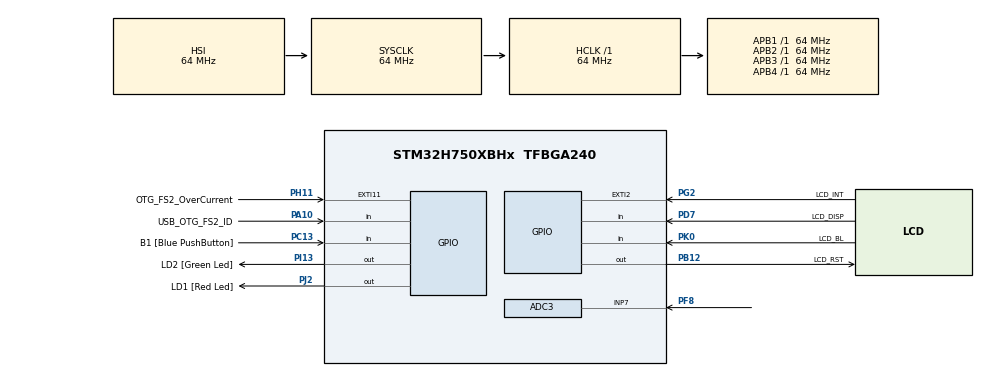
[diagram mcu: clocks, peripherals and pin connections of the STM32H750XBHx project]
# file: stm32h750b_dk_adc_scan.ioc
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Dma.ADC3.0.FIFOMode=DMA_FIFOMODE_DISABLE
SH.FMC_A0.0=FMC_A0
PG8.Signal=FMC_SDCLK
PG0.Signal=FMC_A10
RCC.PLLFRACN=0
SH.FMC_D5_DA5.0=FMC_D5
Dma.ADC3.0.SignalID=NONE
SH.FMC_D9_DA9.0=FMC_D9
PF7.Signal=QUADSPI_BK1_IO2
SH.FMC_SDNWE.0=FMC_SDNWE
PH9.Signal=LTDC_R3
SH.FMC_D11_DA11.0=FMC_D11
PB6.Signal=QUADSPI_BK1_NCS
Dma.ADC3.0.Direction=DMA_PERIPH_TO_MEMORY
PC7.Signal=SDMMC1_D7
PD0.Signal=FMC_D2_DA2
PD8.Signal=FMC_D13_DA13
PE1.Signal=FMC_NBL1
PB12.GPIO_Label=LCD_RST
PC4.GPIO_Label=MII_RXD0
PE9.Signal=FMC_D6_DA6
SH.FMC_A2.0=FMC_A2
ADC3.SamplingTime-5\#ChannelRegularConversion=ADC_SAMPLETIME_810CYCLES_5
PB1.GPIO_Label=MII_RX_D3
NVIC.TIM2_IRQn=true\:0\:0\:false\:false\:true\:true\:true
PA8.Signal=S_TIM1_CH1
SH.FMC_D1_DA1.0=FMC_D1
PJ14.Signal=LTDC_B2
Mcu.Package=TFBGA240
PB9.Signal=SDMMC1_D5
TIM2.Prescaler=5999
PB1.Signal=ETH_RXD3
RCC.PLL3FRACN=0
Dma.ADC3.0.SyncEnable=DISABLE
ADC3.Rank-0\#ChannelRegularConversion=1
PA10.Signal=GPIO_Input
PC14-OSC32_IN\ (OSC32_IN).Mode=LSE-External-Clock-Source
Dma.ADC3.0.Instance=DMA1_Stream0
Dma.ADC3.0.SyncPolarity=HAL_DMAMUX_SYNC_NO_EVENT
PD15.Signal=FMC_D1_DA1
PG12.Signal=ETH_TXD1
PK4.Signal=LTDC_B5
SH.FMC_A4.0=FMC_A4
PH13.Signal=FDCAN1_TX
ADC3.OffsetNumber-1\#ChannelRegularConversion=ADC_OFFSET_NONE
PG5.Signal=FMC_A15_BA1
PC13.Signal=GPIO_Input
SH.FMC_D10_DA10.0=FMC_D10
PD3.Signal=SPI2_SCK
PC2.Signal=ETH_TXD2
PI12.Signal=LTDC_HSYNC
RCC.PWR_Regulator_Voltage_Scale=PWR_REGULATOR_VOLTAGE_SCALE2
PJ11.Signal=LTDC_G4
PD10.Signal=FMC_D15_DA15
PB8.GPIO_Label=SDIO1_D4
PJ3.Signal=LTDC_R4
PH11.GPIO_Label=OTG_FS2_OverCurrent
PI7.Signal=SAI2_FS_A
SH.FMC_A6.0=FMC_A6
PE14.Signal=FMC_D11_DA11
ADC3.Channel-5\#ChannelRegularConversion=ADC_CHANNEL_VREFINT
PI2.Signal=SPI2_MISO
PA1.GPIO_Label=MII_RX_CLK
PF13.Signal=FMC_A7
TIM2.Period=2999
PJ15.GPIO_Label=LCD_DISP
VP_ADC3_Vbat_Input.Mode=IN-Vbat
Dma.ADC3.0.PeriphDataAlignment=DMA_PDATAALIGN_WORD
PC7.GPIO_Label=SDIO1_D7
ADC3.Rank-1\#ChannelRegularConversion=2
PC14-OSC32_IN\ (OSC32_IN).GPIO_Label=OSC32_IN
PC12.GPIO_Label=SDIO1_CK
PJ8.Signal=LTDC_G1
ProjectManager.HeapSize=0x200
ADC3.EOCSelection=ADC_EOC_SEQ_CONV
PH6.Signal=FMC_SDNE1
NVIC.PriorityGroup=NVIC_PRIORITYGROUP_4
VP_ADC3_TempSens_Input.Mode=IN-TempSens
PF4.Signal=FMC_A4
PD2.Signal=SDMMC1_CMD
Mcu.Family=STM32H7
PK3.Signal=LTDC_B4
SH.FMC_A8.0=FMC_A8
PH14.Signal=FDCAN1_RX
SH.FMC_D14_DA14.0=FMC_D14
PH0-OSC_IN\ (PH0).Signal=RCC_OSC_IN
PG2.Signal=GPXTI2
RCC.PLL2FRACN=0
SH.FMC_A14_BA0.0=FMC_BA0
SH.FMC_A11.0=FMC_A11
PB13.GPIO_Label=FDCAN2_TX
PB15.Signal=SPI2_MOSI
ADC3.Channel-0\#ChannelRegularConversion=ADC_CHANNEL_7
PG11.Signal=ETH_TX_EN
PG15.Signal=FMC_SDNCAS
SH.S_TIM13_CH1.0=TIM13_CH1
PJ2.Signal=GPIO_Output
SH.FMC_NBL1.0=FMC_NBL1
PF11.Signal=FMC_SDNRAS
PC11.GPIO_Label=SDIO1_D3
PA6.Signal=S_TIM13_CH1
PF8.Signal=ADC3_INP7
PB5.GPIO_Label=FDCAN2_RX
ADC3.OffsetNumber-4\#ChannelRegularConversion=ADC_OFFSET_NONE
NVIC.DMA1_Stream0_IRQn=true\:0\:0\:false\:false\:true\:false\:true
PG11.GPIO_Label=MII_TX_EN
PC5.Signal=ETH_RXD1
PE7.Signal=FMC_D4_DA4
Dma.Request0=ADC3
PE2.GPIO_Label=MII_TXD3
PG2.GPIO_Label=LCD_INT
PH1-OSC_OUT\ (PH1).GPIO_Label=OSC_OUT
PK6.Signal=LTDC_B7
PA0_C.Signal=ADCx_INP0
PC9.GPIO_Label=SDIO1_D1
PC11.Signal=SDMMC1_D3
PI14.Signal=LTDC_CLK
PC8.Signal=SDMMC1_D0
PD9.Signal=FMC_D14_DA14
PA12.GPIO_Label=USB_OTG_FS2_P
PH1-OSC_OUT\ (PH1).Signal=RCC_OSC_OUT
SH.ADCx_INP1.1=ADC2_INP1
SH.ADCx_INP1.0=ADC1_INP1
ADC3.SamplingTime-0\#ChannelRegularConversion=ADC_SAMPLETIME_810CYCLES_5
SH.S_TIM1_CH1.0=TIM1_CH1
PF6.Signal=QUADSPI_BK1_IO3
PC15-OSC32_OUT\ (OSC32_OUT).Signal=RCC_OSC32_OUT
PB10.GPIO_Label=VCP_TX
SH.FMC_D13_DA13.0=FMC_D13
RCC.USBFreq_Value=48011363.63636364
PA1.Signal=ETH_RX_CLK
board=STM32H750B-DK
PI9.Signal=LTDC_VSYNC
ADC3.Overrun=ADC_OVR_DATA_OVERWRITTEN
PI13.GPIO_Label=LD2 [Green Led]
PI4.Signal=SAI2_MCLK_A
RCC.ADCFreq_Value=30000000
PC1.GPIO_Label=MII_MDC
SH.FMC_D12_DA12.0=FMC_D12
Dma.ADC3.0.Polarity=HAL_DMAMUX_REQ_GEN_RISING
PF1.Signal=FMC_A1
PJ0.Signal=LTDC_R1
PE0.Signal=FMC_NBL0
PE12.Signal=FMC_D9_DA9
ADC3.NbrOfDiscConversion=2
RCC.SYSCLKFreq_VALUE=64000000
PC15-OSC32_OUT\ (OSC32_OUT).GPIO_Label=OSC32_OUT
PJ5.Signal=LTDC_R6
PH0-OSC_IN\ (PH0).GPIO_Label=OSC_IN
PH3.Signal=ETH_COL
PC3_C.Signal=ADC3_INP1
PJ2.GPIO_Label=LD1 [Red Led]
ADC3.NbrOfConversionFlag=1
PB12.Signal=GPIO_Output
PJ13.Signal=LTDC_B1
PB4\ (NJTRST).Signal=SPI2_NSS
SH.FMC_D7_DA7.0=FMC_D7
PK5.Signal=LTDC_B6
Dma.ADC3.0.Priority=DMA_PRIORITY_HIGH
SH.ADCx_INP10.1=ADC3_INP10
SH.ADCx_INP10.0=ADC1_INP10
PG4.Signal=FMC_A14_BA0
PC12.Signal=SDMMC1_CK
PC6.GPIO_Label=SDIO1_D6
PB13.Signal=FDCAN2_TX
PG13.Signal=ETH_TXD0
Dma.ADC3.0.EventEnable=DISABLE
PJ10.Signal=LTDC_G3
SH.FMC_A15_BA1.0=FMC_BA1
PH5.Signal=FMC_SDNWE
PC3.Signal=ETH_TX_CLK
PE5.Signal=SAI4_CK2
RCC.DIVM2=2
RCC.DIVM1=22
Dma.ADC3.0.PeriphInc=DMA_PINC_DISABLE
ADC3.ExternalTrigConv=ADC_EXTERNALTRIG_T2_TRGO
PI6.Signal=SAI2_SD_A
PE2.Signal=ETH_TXD3
PF8.Mode=IN7-Single-Ended
PF3.Signal=FMC_A3
PE10.Signal=FMC_D7_DA7
ADC3.Rank-4\#ChannelRegularConversion=3
PJ4.Signal=LTDC_R5
SH.FMC_A1.0=FMC_A1
PH2.Signal=ETH_CRS
SH.FMC_SDCLK.0=FMC_SDCLK
RCC.APB4Freq_Value=64000000
PF14.Signal=FMC_A8
ADC3.ExternalTrigConvEdge=ADC_EXTERNALTRIGCONVEDGE_FALLING
PH0-OSC_IN\ (PH0).Mode=HSE-External-Clock-Source
SH.FMC_D3_DA3.0=FMC_D3
PI10.GPIO_Label=MII_RX_ER
PH15.Signal=TIM8_CH3N
RCC.DIVQ1=4
PA9.GPIO_Label=VBUS_FS2
PC6.Signal=SDMMC1_D6
PB11.GPIO_Label=VCP_RX
PD7.Signal=GPIO_Input
Dma.ADC3.0.SyncRequestNumber=1
PD1.Signal=FMC_D3_DA3
PA11.GPIO_Label=USB_OTG_FS2_N
RCC.DIVP2=5
PC0.Signal=ADCx_INP10
PG13.GPIO_Label=MII_TXD0
ADC3.Resolution=ADC_RESOLUTION_12B
PG10.Signal=SAI2_SD_B
SH.FMC_A3.0=FMC_A3
PJ7.Signal=LTDC_G0
SH.FMC_D15_DA15.0=FMC_D15
PA9.Signal=USB_OTG_FS_VBUS
RCC.DIVN3=192
RCC.DIVN2=12
RCC.DIVN1=169
ADC3.NbrOfConversion=4
PB10.Signal=USART3_TX
PJ15.Signal=LTDC_B3
PE15.Signal=FMC_D12_DA12
PE8.Signal=FMC_D5_DA5
PI1.Signal=LTDC_G6
ADC3.Rank-5\#ChannelRegularConversion=4
SH.FMC_SDNCAS.0=FMC_SDNCAS
ADC3.Channel-1\#ChannelRegularConversion=ADC_CHANNEL_VBAT
PH14.GPIO_Label=FDCAN1_RX
PB5.Signal=FDCAN2_RX
PD11.Signal=QUADSPI_BK1_IO0
SH.FMC_A5.0=FMC_A5
PA11.Signal=USB_OTG_FS_DM
Dma.ADC3.0.Mode=DMA_CIRCULAR
PF9.Signal=QUADSPI_BK1_IO1
PC3.GPIO_Label=MII_TX_CLK
PB0.Signal=ETH_RXD2
PC1.Signal=ETH_MDC
PD2.GPIO_Label=SDIO1_CMD
PH2.GPIO_Label=MII_CRS
ADC3.OffsetNumber-5\#ChannelRegularConversion=ADC_OFFSET_NONE
PK7.Signal=LTDC_DE
NVIC.ADC3_IRQn=true\:0\:0\:false\:false\:true\:true\:true
RCC.CortexFreq_Value=64000000
PC10.Signal=SDMMC1_D2
PA1_C.Signal=ADCx_INP1
SH.FMC_NBL0.0=FMC_NBL0
SH.FMC_D6_DA6.0=FMC_D6
PB0.GPIO_Label=MII_RX_D2
PC13.GPIO_Label=B1 [Blue PushButton]
PB11.Signal=USART3_RX
ProjectManager.StackSize=0x400
Dma.ADC3.0.SyncSignalID=NONE
ADC3.SamplingTime-4\#ChannelRegularConversion=ADC_SAMPLETIME_810CYCLES_5
PJ6.Signal=LTDC_R7
SH.FMC_A7.0=FMC_A7
PA12.Signal=USB_OTG_FS_DP
RCC.HCLKFreq_Value=64000000
VP_ADC3_Vref_Input.Mode=IN-Vrefint
PF12.Signal=FMC_A6
PI13.Signal=GPIO_Output
Dma.ADC3.0.MemDataAlignment=DMA_MDATAALIGN_WORD
PC2_C.Signal=SharedAnalog_PC2
SH.FMC_A10.0=FMC_A10
ADC3.SamplingTime-1\#ChannelRegularConversion=ADC_SAMPLETIME_810CYCLES_5
SH.FMC_D8_DA8.0=FMC_D8
SH.FMC_D2_DA2.0=FMC_D2
PE13.Signal=FMC_D10_DA10
PI5.Signal=SAI2_SCK_A
PI0.Signal=LTDC_G5
PA10.GPIO_Label=USB_OTG_FS2_ID
Dma.ADC3.0.MemInc=DMA_MINC_ENABLE
SH.FMC_SDNRAS.0=FMC_SDNRAS
PE4.Signal=SAI4_D2
PD7.GPIO_Label=LCD_DISP
RCC.APB3Freq_Value=64000000
PJ9.Signal=LTDC_G2
SH.FMC_D0_DA0.0=FMC_D0
PJ12.Signal=LTDC_B0
PK0.GPIO_Label=LCD_BL
PA2.GPIO_Label=MII_MDIO
SH.FMC_A9.0=FMC_A9
SH.FMC_D4_DA4.0=FMC_D4
PJ1.Signal=LTDC_R2
ADC3.OffsetNumber-0\#ChannelRegularConversion=ADC_OFFSET_NONE
ADC3.ClockPrescaler=ADC_CLOCK_ASYNC_DIV4
PF5.Signal=FMC_A5
PH3.GPIO_Label=MII_COL
TIM2.TIM_MasterOutputTrigger=TIM_TRGO_UPDATE
PH7.Signal=FMC_SDCKE1
PF0.Signal=FMC_A0
PC2.GPIO_Label=MII_TXD2
RCC.PLLSourceVirtual=RCC_PLLSOURCE_HSE
ADC3.DiscontinuousConvMode=ENABLE
PK2.Signal=LTDC_G7
PB9.GPIO_Label=SDIO1_D5
PC10.GPIO_Label=SDIO1_D2
PH11.Signal=GPXTI11
PG1.Signal=FMC_A11
PC4.Signal=ETH_RXD0
PI10.Signal=ETH_RX_ER
PH13.GPIO_Label=FDCAN1_TX
PC8.GPIO_Label=SDIO1_D0
ProjectManager.TargetToolchain=STM32CubeIDE
ADC3.Channel-4\#ChannelRegularConversion=ADC_CHANNEL_TEMPSENSOR
SH.SharedAnalog_PC2.1=ADC3_INN1
SH.SharedAnalog_PC2.0=ADC3_INP0
PF2.Signal=FMC_A2
PE11.Signal=FMC_D8_DA8
PK0.Signal=GPIO_Input
Dma.ADC3.0.RequestNumber=1
SH.ADCx_INP0.0=ADC1_INP0
SH.ADCx_INP0.1=ADC2_INP0
RCC.APB2Freq_Value=64000000
VP_TIM2_VS_ClockSourceINT.Mode=Internal
PF10.Signal=QUADSPI_CLK
PF15.Signal=FMC_A9
Mcu.Name=STM32H750XBHx
ADC3.ConversionDataManagement=ADC_CONVERSIONDATA_DMA_CIRCULAR
PA2.Signal=ETH_MDIO
PD14.Signal=FMC_D0_DA0
PA7.GPIO_Label=MII_RX_DV
PC14-OSC32_IN\ (OSC32_IN).Signal=RCC_OSC32_IN
PC5.GPIO_Label=MII_RXD1
PG12.GPIO_Label=MII_TXD1
PI15.Signal=LTDC_R0
PB8.Signal=SDMMC1_D4
PC9.Signal=SDMMC1_D1
RCC.APB1Freq_Value=64000000
PA7.Signal=ETH_RX_DV

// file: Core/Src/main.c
/* USER CODE BEGIN Header */
/**
  ******************************************************************************
  * @file           : main.c
  * @brief          : Main program body
  ******************************************************************************
  * @attention
  *
  * <h2><center>&copy; Copyright (c) 2022 STMicroelectronics.
  * All rights reserved.</center></h2>
  *
  * This software component is licensed by ST under BSD 3-Clause license,
  * the "License"; You may not use this file except in compliance with the
  * License. You may obtain a copy of the License at:
  *                        opensource.org/licenses/BSD-3-Clause
  *
  ******************************************************************************
  */
/* USER CODE END Header */
#include "main.h"

/* USER CODE BEGIN PD */
#define NUMBER_OF_SAMPLES	4
#define BUFFER_SAMPLES		NUMBER_OF_SAMPLES * 2
#define ADC_DEFAULT_VALUE	0xAAAA
/* USER CODE END PD */

ADC_HandleTypeDef hadc3;
DMA_HandleTypeDef hdma_adc3;

TIM_HandleTypeDef htim2;

void SystemClock_Config(void);
static void MX_GPIO_Init(void);
static void MX_DMA_Init(void);
static void MX_ADC3_Init(void);
static void MX_TIM2_Init(void);

/* USER CODE BEGIN 0 */
ALIGN_32BYTES(static uint32_t adc_buffer[BUFFER_SAMPLES]) __attribute__((section(".buf_data_d3"))); // The ADC DMA can only communicate with the D3 SRAM, that's why it's allocated this way
//uint16_t adc_buffer[BUFFER_SAMPLES] = {};
/* USER CODE END 0 */

int main(void)
{

  /* MCU Configuration--------------------------------------------------------*/

  /* Reset of all peripherals, Initializes the Flash interface and the Systick. */
  HAL_Init();

  /* Configure the system clock */
  SystemClock_Config();

  /* Initialize all configured peripherals */
  MX_GPIO_Init();
  MX_DMA_Init();
  MX_ADC3_Init();
  MX_TIM2_Init();
  /* USER CODE BEGIN 2 */

  /* Set the buffer with a known value*/
  for(uint32_t i = 0; i< BUFFER_SAMPLES; i++)
  {
	  adc_buffer[i] = ADC_DEFAULT_VALUE;
  }

  /*Turn off Red LED*/
  HAL_GPIO_WritePin(LD2_GPIO_Port, LD2_Pin, GPIO_PIN_SET);

  /*Turn off Green LED*/
  HAL_GPIO_WritePin(LD1_GPIO_Port, LD1_Pin, GPIO_PIN_SET);

  /*ADC Offset Calibration*/
  if(HAL_ADCEx_Calibration_Start(&hadc3, ADC_CALIB_OFFSET, ADC_SINGLE_ENDED) != HAL_OK)
  {
	  Error_Handler();
  }

  /*ADC Linearity Calibration*/
  if(HAL_ADCEx_Calibration_Start(&hadc3, ADC_CALIB_OFFSET_LINEARITY, ADC_SINGLE_ENDED) != HAL_OK)
  {
	  Error_Handler();
  }

  /*Start DMA transfers*/
  if(HAL_ADC_Start_DMA(&hadc3, &adc_buffer, BUFFER_SAMPLES) != HAL_OK)
  {
	  Error_Handler();
  }

  /* Start timer 2 and therefore start the ADC3 sampling*/
  if(HAL_TIM_Base_Start_IT(&htim2) != HAL_OK)
  {
	  Error_Handler();
  }
  /* USER CODE END 2 */

  /* Infinite loop */
  while (1)
  {

  }
}

void SystemClock_Config(void)
{
  RCC_OscInitTypeDef RCC_OscInitStruct = {0};
  RCC_ClkInitTypeDef RCC_ClkInitStruct = {0};

  /** Supply configuration update enable
  */
  HAL_PWREx_ConfigSupply(PWR_LDO_SUPPLY);
  /** Configure the main internal regulator output voltage
  */
  __HAL_PWR_VOLTAGESCALING_CONFIG(PWR_REGULATOR_VOLTAGE_SCALE2);

  while(!__HAL_PWR_GET_FLAG(PWR_FLAG_VOSRDY)) {}
  /** Macro to configure the PLL clock source
  */
  __HAL_RCC_PLL_PLLSOURCE_CONFIG(RCC_PLLSOURCE_HSE);
  /** Initializes the RCC Oscillators according to the specified parameters
  * in the RCC_OscInitTypeDef structure.
  */
  RCC_OscInitStruct.OscillatorType = RCC_OSCILLATORTYPE_HSI|RCC_OSCILLATORTYPE_HSE;
  RCC_OscInitStruct.HSEState = RCC_HSE_BYPASS;
  RCC_OscInitStruct.HSIState = RCC_HSI_DIV1;
  RCC_OscInitStruct.HSICalibrationValue = RCC_HSICALIBRATION_DEFAULT;
  RCC_OscInitStruct.PLL.PLLState = RCC_PLL_NONE;
  RCC_OscInitStruct.PLL.PLLSource = RCC_PLLSOURCE_HSE;
  if (HAL_RCC_OscConfig(&RCC_OscInitStruct) != HAL_OK)
  {
    Error_Handler();
  }
  /** Initializes the CPU, AHB and APB buses clocks
  */
  RCC_ClkInitStruct.ClockType = RCC_CLOCKTYPE_HCLK|RCC_CLOCKTYPE_SYSCLK
                              |RCC_CLOCKTYPE_PCLK1|RCC_CLOCKTYPE_PCLK2
                              |RCC_CLOCKTYPE_D3PCLK1|RCC_CLOCKTYPE_D1PCLK1;
  RCC_ClkInitStruct.SYSCLKSource = RCC_SYSCLKSOURCE_HSI;
  RCC_ClkInitStruct.SYSCLKDivider = RCC_SYSCLK_DIV1;
  RCC_ClkInitStruct.AHBCLKDivider = RCC_HCLK_DIV1;
  RCC_ClkInitStruct.APB3CLKDivider = RCC_APB3_DIV1;
  RCC_ClkInitStruct.APB1CLKDivider = RCC_APB1_DIV1;
  RCC_ClkInitStruct.APB2CLKDivider = RCC_APB2_DIV1;
  RCC_ClkInitStruct.APB4CLKDivider = RCC_APB4_DIV1;

  if (HAL_RCC_ClockConfig(&RCC_ClkInitStruct, FLASH_LATENCY_1) != HAL_OK)
  {
    Error_Handler();
  }
}

static void MX_ADC3_Init(void)
{

  ADC_ChannelConfTypeDef sConfig = {0};

  /** Common config
  */
  hadc3.Instance = ADC3;
  hadc3.Init.ClockPrescaler = ADC_CLOCK_ASYNC_DIV4;
  hadc3.Init.Resolution = ADC_RESOLUTION_12B;
  hadc3.Init.ScanConvMode = ADC_SCAN_ENABLE;
  hadc3.Init.EOCSelection = ADC_EOC_SEQ_CONV;
  hadc3.Init.LowPowerAutoWait = DISABLE;
  hadc3.Init.ContinuousConvMode = DISABLE;
  hadc3.Init.NbrOfConversion = 4;
  hadc3.Init.DiscontinuousConvMode = ENABLE;
  hadc3.Init.NbrOfDiscConversion = 2;
  hadc3.Init.ExternalTrigConv = ADC_EXTERNALTRIG_T2_TRGO;
  hadc3.Init.ExternalTrigConvEdge = ADC_EXTERNALTRIGCONVEDGE_FALLING;
  hadc3.Init.ConversionDataManagement = ADC_CONVERSIONDATA_DMA_CIRCULAR;
  hadc3.Init.Overrun = ADC_OVR_DATA_OVERWRITTEN;
  hadc3.Init.LeftBitShift = ADC_LEFTBITSHIFT_NONE;
  hadc3.Init.OversamplingMode = DISABLE;
  if (HAL_ADC_Init(&hadc3) != HAL_OK)
  {
    Error_Handler();
  }
  /** Configure Regular Channel
  */
  sConfig.Channel = ADC_CHANNEL_7;
  sConfig.Rank = ADC_REGULAR_RANK_1;
  sConfig.SamplingTime = ADC_SAMPLETIME_810CYCLES_5;
  sConfig.SingleDiff = ADC_SINGLE_ENDED;
  sConfig.OffsetNumber = ADC_OFFSET_NONE;
  sConfig.Offset = 0;
  if (HAL_ADC_ConfigChannel(&hadc3, &sConfig) != HAL_OK)
  {
    Error_Handler();
  }
  /** Configure Regular Channel
  */
  sConfig.Channel = ADC_CHANNEL_VBAT;
  sConfig.Rank = ADC_REGULAR_RANK_2;
  if (HAL_ADC_ConfigChannel(&hadc3, &sConfig) != HAL_OK)
  {
    Error_Handler();
  }
  /** Configure Regular Channel
  */
  sConfig.Channel = ADC_CHANNEL_TEMPSENSOR;
  sConfig.Rank = ADC_REGULAR_RANK_3;
  if (HAL_ADC_ConfigChannel(&hadc3, &sConfig) != HAL_OK)
  {
    Error_Handler();
  }
  /** Configure Regular Channel
  */
  sConfig.Channel = ADC_CHANNEL_VREFINT;
  sConfig.Rank = ADC_REGULAR_RANK_4;
  if (HAL_ADC_ConfigChannel(&hadc3, &sConfig) != HAL_OK)
  {
    Error_Handler();
  }

}

static void MX_TIM2_Init(void)
{

  TIM_ClockConfigTypeDef sClockSourceConfig = {0};
  TIM_MasterConfigTypeDef sMasterConfig = {0};

  htim2.Instance = TIM2;
  htim2.Init.Prescaler = 5999;
  htim2.Init.CounterMode = TIM_COUNTERMODE_UP;
  htim2.Init.Period = 2999;
  htim2.Init.ClockDivision = TIM_CLOCKDIVISION_DIV1;
  htim2.Init.AutoReloadPreload = TIM_AUTORELOAD_PRELOAD_DISABLE;
  if (HAL_TIM_Base_Init(&htim2) != HAL_OK)
  {
    Error_Handler();
  }
  sClockSourceConfig.ClockSource = TIM_CLOCKSOURCE_INTERNAL;
  if (HAL_TIM_ConfigClockSource(&htim2, &sClockSourceConfig) != HAL_OK)
  {
    Error_Handler();
  }
  sMasterConfig.MasterOutputTrigger = TIM_TRGO_UPDATE;
  sMasterConfig.MasterSlaveMode = TIM_MASTERSLAVEMODE_DISABLE;
  if (HAL_TIMEx_MasterConfigSynchronization(&htim2, &sMasterConfig) != HAL_OK)
  {
    Error_Handler();
  }

}

static void MX_DMA_Init(void)
{

  /* DMA controller clock enable */
  __HAL_RCC_DMA1_CLK_ENABLE();

  /* DMA interrupt init */
  /* DMA1_Stream0_IRQn interrupt configuration */
  HAL_NVIC_SetPriority(DMA1_Stream0_IRQn, 0, 0);
  HAL_NVIC_EnableIRQ(DMA1_Stream0_IRQn);

}

static void MX_GPIO_Init(void)
{
  GPIO_InitTypeDef GPIO_InitStruct = {0};

  /* GPIO Ports Clock Enable */
  __HAL_RCC_GPIOI_CLK_ENABLE();
  __HAL_RCC_GPIOB_CLK_ENABLE();
  __HAL_RCC_GPIOK_CLK_ENABLE();
  __HAL_RCC_GPIOG_CLK_ENABLE();
  __HAL_RCC_GPIOC_CLK_ENABLE();
  __HAL_RCC_GPIOE_CLK_ENABLE();
  __HAL_RCC_GPIOJ_CLK_ENABLE();
  __HAL_RCC_GPIOD_CLK_ENABLE();
  __HAL_RCC_GPIOH_CLK_ENABLE();
  __HAL_RCC_GPIOA_CLK_ENABLE();
  __HAL_RCC_GPIOF_CLK_ENABLE();

  /*Configure GPIO pin Output Level */
  HAL_GPIO_WritePin(LD2_GPIO_Port, LD2_Pin, GPIO_PIN_RESET);

  /*Configure GPIO pin Output Level */
  HAL_GPIO_WritePin(LD1_GPIO_Port, LD1_Pin, GPIO_PIN_RESET);

  /*Configure GPIO pin Output Level */
  HAL_GPIO_WritePin(LCD_RST_GPIO_Port, LCD_RST_Pin, GPIO_PIN_RESET);

  /*Configure GPIO pins : PI6 PI5 PI4 PI7 */
  GPIO_InitStruct.Pin = GPIO_PIN_6|GPIO_PIN_5|GPIO_PIN_4|GPIO_PIN_7;
  GPIO_InitStruct.Mode = GPIO_MODE_AF_PP;
  GPIO_InitStruct.Pull = GPIO_NOPULL;
  GPIO_InitStruct.Speed = GPIO_SPEED_FREQ_LOW;
  GPIO_InitStruct.Alternate = GPIO_AF10_SAI2;
  HAL_GPIO_Init(GPIOI, &GPIO_InitStruct);

  /*Configure GPIO pins : FDCAN2_RX_Pin FDCAN2_TX_Pin */
  GPIO_InitStruct.Pin = FDCAN2_RX_Pin|FDCAN2_TX_Pin;
  GPIO_InitStruct.Mode = GPIO_MODE_AF_PP;
  GPIO_InitStruct.Pull = GPIO_NOPULL;
  GPIO_InitStruct.Speed = GPIO_SPEED_FREQ_LOW;
  GPIO_InitStruct.Alternate = GPIO_AF9_FDCAN2;
  HAL_GPIO_Init(GPIOB, &GPIO_InitStruct);

  /*Configure GPIO pins : PK5 PK4 PK6 PK3
                           PK7 PK2 */
  GPIO_InitStruct.Pin = GPIO_PIN_5|GPIO_PIN_4|GPIO_PIN_6|GPIO_PIN_3
                          |GPIO_PIN_7|GPIO_PIN_2;
  GPIO_InitStruct.Mode = GPIO_MODE_AF_PP;
  GPIO_InitStruct.Pull = GPIO_NOPULL;
  GPIO_InitStruct.Speed = GPIO_SPEED_FREQ_LOW;
  GPIO_InitStruct.Alternate = GPIO_AF14_LTDC;
  HAL_GPIO_Init(GPIOK, &GPIO_InitStruct);

  /*Configure GPIO pin : PG10 */
  GPIO_InitStruct.Pin = GPIO_PIN_10;
  GPIO_InitStruct.Mode = GPIO_MODE_AF_PP;
  GPIO_InitStruct.Pull = GPIO_NOPULL;
  GPIO_InitStruct.Speed = GPIO_SPEED_FREQ_LOW;
  GPIO_InitStruct.Alternate = GPIO_AF10_SAI2;
  HAL_GPIO_Init(GPIOG, &GPIO_InitStruct);

  /*Configure GPIO pins : SDIO1_D2_Pin SDIO1_D3_Pin SDIO1_CK_Pin SDIO1_D0_Pin
                           SDIO1_D1_Pin SDIO1_D7_Pin SDIO1_D6_Pin */
  GPIO_InitStruct.Pin = SDIO1_D2_Pin|SDIO1_D3_Pin|SDIO1_CK_Pin|SDIO1_D0_Pin
                          |SDIO1_D1_Pin|SDIO1_D7_Pin|SDIO1_D6_Pin;
  GPIO_InitStruct.Mode = GPIO_MODE_AF_PP;
  GPIO_InitStruct.Pull = GPIO_NOPULL;
  GPIO_InitStruct.Speed = GPIO_SPEED_FREQ_VERY_HIGH;
  GPIO_InitStruct.Alternate = GPIO_AF12_SDIO1;
  HAL_GPIO_Init(GPIOC, &GPIO_InitStruct);

  /*Configure GPIO pins : PI1 PI0 PI9 PI12
                           PI14 PI15 */
  GPIO_InitStruct.Pin = GPIO_PIN_1|GPIO_PIN_0|GPIO_PIN_9|GPIO_PIN_12
                          |GPIO_PIN_14|GPIO_PIN_15;
  GPIO_InitStruct.Mode = GPIO_MODE_AF_PP;
  GPIO_InitStruct.Pull = GPIO_NOPULL;
  GPIO_InitStruct.Speed = GPIO_SPEED_FREQ_LOW;
  GPIO_InitStruct.Alternate = GPIO_AF14_LTDC;
  HAL_GPIO_Init(GPIOI, &GPIO_InitStruct);

  /*Configure GPIO pins : PE1 PE0 PE10 PE9
                           PE11 PE12 PE15 PE8
                           PE13 PE7 PE14 */
  GPIO_InitStruct.Pin = GPIO_PIN_1|GPIO_PIN_0|GPIO_PIN_10|GPIO_PIN_9
                          |GPIO_PIN_11|GPIO_PIN_12|GPIO_PIN_15|GPIO_PIN_8
                          |GPIO_PIN_13|GPIO_PIN_7|GPIO_PIN_14;
  GPIO_InitStruct.Mode = GPIO_MODE_AF_PP;
  GPIO_InitStruct.Pull = GPIO_NOPULL;
  GPIO_InitStruct.Speed = GPIO_SPEED_FREQ_VERY_HIGH;
  GPIO_InitStruct.Alternate = GPIO_AF12_FMC;
  HAL_GPIO_Init(GPIOE, &GPIO_InitStruct);

  /*Configure GPIO pin : PB6 */
  GPIO_InitStruct.Pin = GPIO_PIN_6;
  GPIO_InitStruct.Mode = GPIO_MODE_AF_PP;
  GPIO_InitStruct.Pull = GPIO_NOPULL;
  GPIO_InitStruct.Speed = GPIO_SPEED_FREQ_LOW;
  GPIO_InitStruct.Alternate = GPIO_AF10_QUADSPI;
  HAL_GPIO_Init(GPIOB, &GPIO_InitStruct);

  /*Configure GPIO pin : PB4 */
  GPIO_InitStruct.Pin = GPIO_PIN_4;
  GPIO_InitStruct.Mode = GPIO_MODE_AF_PP;
  GPIO_InitStruct.Pull = GPIO_NOPULL;
  GPIO_InitStruct.Speed = GPIO_SPEED_FREQ_LOW;
  GPIO_InitStruct.Alternate = GPIO_AF7_SPI2;
  HAL_GPIO_Init(GPIOB, &GPIO_InitStruct);

  /*Configure GPIO pins : MII_TX_EN_Pin MII_TXD1_Pin MII_TXD0_Pin */
  GPIO_InitStruct.Pin = MII_TX_EN_Pin|MII_TXD1_Pin|MII_TXD0_Pin;
  GPIO_InitStruct.Mode = GPIO_MODE_AF_PP;
  GPIO_InitStruct.Pull = GPIO_NOPULL;
  GPIO_InitStruct.Speed = GPIO_SPEED_FREQ_LOW;
  GPIO_InitStruct.Alternate = GPIO_AF11_ETH;
  HAL_GPIO_Init(GPIOG, &GPIO_InitStruct);

  /*Configure GPIO pins : LCD_DISP_Pin PJ14 PJ12 PJ13
                           PJ11 PJ10 PJ9 PJ0
                           PJ8 PJ7 PJ6 PJ1
                           PJ5 PJ3 PJ4 */
  GPIO_InitStruct.Pin = LCD_DISP_Pin|GPIO_PIN_14|GPIO_PIN_12|GPIO_PIN_13
                          |GPIO_PIN_11|GPIO_PIN_10|GPIO_PIN_9|GPIO_PIN_0
                          |GPIO_PIN_8|GPIO_PIN_7|GPIO_PIN_6|GPIO_PIN_1
                          |GPIO_PIN_5|GPIO_PIN_3|GPIO_PIN_4;
  GPIO_InitStruct.Mode = GPIO_MODE_AF_PP;
  GPIO_InitStruct.Pull = GPIO_NOPULL;
  GPIO_InitStruct.Speed = GPIO_SPEED_FREQ_LOW;
  GPIO_InitStruct.Alternate = GPIO_AF14_LTDC;
  HAL_GPIO_Init(GPIOJ, &GPIO_InitStruct);

  /*Configure GPIO pin : PD3 */
  GPIO_InitStruct.Pin = GPIO_PIN_3;
  GPIO_InitStruct.Mode = GPIO_MODE_AF_PP;
  GPIO_InitStruct.Pull = GPIO_NOPULL;
  GPIO_InitStruct.Speed = GPIO_SPEED_FREQ_LOW;
  GPIO_InitStruct.Alternate = GPIO_AF5_SPI2;
  HAL_GPIO_Init(GPIOD, &GPIO_InitStruct);

  /*Configure GPIO pin : PI2 */
  GPIO_InitStruct.Pin = GPIO_PIN_2;
  GPIO_InitStruct.Mode = GPIO_MODE_AF_PP;
  GPIO_InitStruct.Pull = GPIO_NOPULL;
  GPIO_InitStruct.Speed = GPIO_SPEED_FREQ_LOW;
  GPIO_InitStruct.Alternate = GPIO_AF5_SPI2;
  HAL_GPIO_Init(GPIOI, &GPIO_InitStruct);

  /*Configure GPIO pin : PH15 */
  GPIO_InitStruct.Pin = GPIO_PIN_15;
  GPIO_InitStruct.Mode = GPIO_MODE_AF_PP;
  GPIO_InitStruct.Pull = GPIO_NOPULL;
  GPIO_InitStruct.Speed = GPIO_SPEED_FREQ_LOW;
  GPIO_InitStruct.Alternate = GPIO_AF3_TIM8;
  HAL_GPIO_Init(GPIOH, &GPIO_InitStruct);

  /*Configure GPIO pins : FDCAN1_RX_Pin FDCAN1_TX_Pin */
  GPIO_InitStruct.Pin = FDCAN1_RX_Pin|FDCAN1_TX_Pin;
  GPIO_InitStruct.Mode = GPIO_MODE_AF_PP;
  GPIO_InitStruct.Pull = GPIO_NOPULL;
  GPIO_InitStruct.Speed = GPIO_SPEED_FREQ_LOW;
  GPIO_InitStruct.Alternate = GPIO_AF9_FDCAN1;
  HAL_GPIO_Init(GPIOH, &GPIO_InitStruct);

  /*Configure GPIO pin : MII_TXD3_Pin */
  GPIO_InitStruct.Pin = MII_TXD3_Pin;
  GPIO_InitStruct.Mode = GPIO_MODE_AF_PP;
  GPIO_InitStruct.Pull = GPIO_NOPULL;
  GPIO_InitStruct.Speed = GPIO_SPEED_FREQ_LOW;
  GPIO_InitStruct.Alternate = GPIO_AF11_ETH;
  HAL_GPIO_Init(MII_TXD3_GPIO_Port, &GPIO_InitStruct);

  /*Configure GPIO pin : LCD_DISPD7_Pin */
  GPIO_InitStruct.Pin = LCD_DISPD7_Pin;
  GPIO_InitStruct.Mode = GPIO_MODE_INPUT;
  GPIO_InitStruct.Pull = GPIO_NOPULL;
  HAL_GPIO_Init(LCD_DISPD7_GPIO_Port, &GPIO_InitStruct);

  /*Configure GPIO pins : PE5 PE4 */
  GPIO_InitStruct.Pin = GPIO_PIN_5|GPIO_PIN_4;
  GPIO_InitStruct.Mode = GPIO_MODE_AF_PP;
  GPIO_InitStruct.Pull = GPIO_NOPULL;
  GPIO_InitStruct.Speed = GPIO_SPEED_FREQ_LOW;
  GPIO_InitStruct.Alternate = GPIO_AF10_SAI4;
  HAL_GPIO_Init(GPIOE, &GPIO_InitStruct);

  /*Configure GPIO pins : SDIO1_D5_Pin SDIO1_D4_Pin */
  GPIO_InitStruct.Pin = SDIO1_D5_Pin|SDIO1_D4_Pin;
  GPIO_InitStruct.Mode = GPIO_MODE_AF_PP;
  GPIO_InitStruct.Pull = GPIO_NOPULL;
  GPIO_InitStruct.Speed = GPIO_SPEED_FREQ_VERY_HIGH;
  GPIO_InitStruct.Alternate = GPIO_AF12_SDIO1;
  HAL_GPIO_Init(GPIOB, &GPIO_InitStruct);

  /*Configure GPIO pins : PG15 PG8 PG5 PG4
                           PG0 PG1 */
  GPIO_InitStruct.Pin = GPIO_PIN_15|GPIO_PIN_8|GPIO_PIN_5|GPIO_PIN_4
                          |GPIO_PIN_0|GPIO_PIN_1;
  GPIO_InitStruct.Mode = GPIO_MODE_AF_PP;
  GPIO_InitStruct.Pull = GPIO_NOPULL;
  GPIO_InitStruct.Speed = GPIO_SPEED_FREQ_VERY_HIGH;
  GPIO_InitStruct.Alternate = GPIO_AF12_FMC;
  HAL_GPIO_Init(GPIOG, &GPIO_InitStruct);

  /*Configure GPIO pin : SDIO1_CMD_Pin */
  GPIO_InitStruct.Pin = SDIO1_CMD_Pin;
  GPIO_InitStruct.Mode = GPIO_MODE_AF_PP;
  GPIO_InitStruct.Pull = GPIO_NOPULL;
  GPIO_InitStruct.Speed = GPIO_SPEED_FREQ_VERY_HIGH;
  GPIO_InitStruct.Alternate = GPIO_AF12_SDIO1;
  HAL_GPIO_Init(SDIO1_CMD_GPIO_Port, &GPIO_InitStruct);

  /*Configure GPIO pins : PD0 PD1 PD15 PD14
                           PD10 PD9 PD8 */
  GPIO_InitStruct.Pin = GPIO_PIN_0|GPIO_PIN_1|GPIO_PIN_15|GPIO_PIN_14
                          |GPIO_PIN_10|GPIO_PIN_9|GPIO_PIN_8;
  GPIO_InitStruct.Mode = GPIO_MODE_AF_PP;
  GPIO_InitStruct.Pull = GPIO_NOPULL;
  GPIO_InitStruct.Speed = GPIO_SPEED_FREQ_VERY_HIGH;
  GPIO_InitStruct.Alternate = GPIO_AF12_FMC;
  HAL_GPIO_Init(GPIOD, &GPIO_InitStruct);

  /*Configure GPIO pin : USB_OTG_FS2_ID_Pin */
  GPIO_InitStruct.Pin = USB_OTG_FS2_ID_Pin;
  GPIO_InitStruct.Mode = GPIO_MODE_INPUT;
  GPIO_InitStruct.Pull = GPIO_NOPULL;
  HAL_GPIO_Init(USB_OTG_FS2_ID_GPIO_Port, &GPIO_InitStruct);

  /*Configure GPIO pin : B1_Pin */
  GPIO_InitStruct.Pin = B1_Pin;
  GPIO_InitStruct.Mode = GPIO_MODE_INPUT;
  GPIO_InitStruct.Pull = GPIO_NOPULL;
  HAL_GPIO_Init(B1_GPIO_Port, &GPIO_InitStruct);

  /*Configure GPIO pin : PA8 */
  GPIO_InitStruct.Pin = GPIO_PIN_8;
  GPIO_InitStruct.Mode = GPIO_MODE_AF_PP;
  GPIO_InitStruct.Pull = GPIO_NOPULL;
  GPIO_InitStruct.Speed = GPIO_SPEED_FREQ_LOW;
  GPIO_InitStruct.Alternate = GPIO_AF1_TIM1;
  HAL_GPIO_Init(GPIOA, &GPIO_InitStruct);

  /*Configure GPIO pins : USB_OTG_FS2_P_Pin USB_OTG_FS2_N_Pin */
  GPIO_InitStruct.Pin = USB_OTG_FS2_P_Pin|USB_OTG_FS2_N_Pin;
  GPIO_InitStruct.Mode = GPIO_MODE_AF_PP;
  GPIO_InitStruct.Pull = GPIO_NOPULL;
  GPIO_InitStruct.Speed = GPIO_SPEED_FREQ_LOW;
  GPIO_InitStruct.Alternate = GPIO_AF10_OTG1_FS;
  HAL_GPIO_Init(GPIOA, &GPIO_InitStruct);

  /*Configure GPIO pin : MII_RX_ER_Pin */
  GPIO_InitStruct.Pin = MII_RX_ER_Pin;
  GPIO_InitStruct.Mode = GPIO_MODE_AF_PP;
  GPIO_InitStruct.Pull = GPIO_NOPULL;
  GPIO_InitStruct.Speed = GPIO_SPEED_FREQ_LOW;
  GPIO_InitStruct.Alternate = GPIO_AF11_ETH;
  HAL_GPIO_Init(MII_RX_ER_GPIO_Port, &GPIO_InitStruct);

  /*Configure GPIO pins : PF2 PF1 PF0 PF3
                           PF5 PF4 PF13 PF14
                           PF12 PF15 PF11 */
  GPIO_InitStruct.Pin = GPIO_PIN_2|GPIO_PIN_1|GPIO_PIN_0|GPIO_PIN_3
                          |GPIO_PIN_5|GPIO_PIN_4|GPIO_PIN_13|GPIO_PIN_14
                          |GPIO_PIN_12|GPIO_PIN_15|GPIO_PIN_11;
  GPIO_InitStruct.Mode = GPIO_MODE_AF_PP;
  GPIO_InitStruct.Pull = GPIO_NOPULL;
  GPIO_InitStruct.Speed = GPIO_SPEED_FREQ_VERY_HIGH;
  GPIO_InitStruct.Alternate = GPIO_AF12_FMC;
  HAL_GPIO_Init(GPIOF, &GPIO_InitStruct);

  /*Configure GPIO pin : LD2_Pin */
  GPIO_InitStruct.Pin = LD2_Pin;
  GPIO_InitStruct.Mode = GPIO_MODE_OUTPUT_PP;
  GPIO_InitStruct.Pull = GPIO_NOPULL;
  GPIO_InitStruct.Speed = GPIO_SPEED_FREQ_LOW;
  HAL_GPIO_Init(LD2_GPIO_Port, &GPIO_InitStruct);

  /*Configure GPIO pin : LCD_INT_Pin */
  GPIO_InitStruct.Pin = LCD_INT_Pin;
  GPIO_InitStruct.Mode = GPIO_MODE_IT_RISING;
  GPIO_InitStruct.Pull = GPIO_NOPULL;
  HAL_GPIO_Init(LCD_INT_GPIO_Port, &GPIO_InitStruct);

  /*Configure GPIO pin : LCD_BL_Pin */
  GPIO_InitStruct.Pin = LCD_BL_Pin;
  GPIO_InitStruct.Mode = GPIO_MODE_INPUT;
  GPIO_InitStruct.Pull = GPIO_NOPULL;
  HAL_GPIO_Init(LCD_BL_GPIO_Port, &GPIO_InitStruct);

  /*Configure GPIO pins : PF6 PF7 PF10 */
  GPIO_InitStruct.Pin = GPIO_PIN_6|GPIO_PIN_7|GPIO_PIN_10;
  GPIO_InitStruct.Mode = GPIO_MODE_AF_PP;
  GPIO_InitStruct.Pull = GPIO_NOPULL;
  GPIO_InitStruct.Speed = GPIO_SPEED_FREQ_LOW;
  GPIO_InitStruct.Alternate = GPIO_AF9_QUADSPI;
  HAL_GPIO_Init(GPIOF, &GPIO_InitStruct);

  /*Configure GPIO pin : PC0 */
  GPIO_InitStruct.Pin = GPIO_PIN_0;
  GPIO_InitStruct.Mode = GPIO_MODE_ANALOG;
  GPIO_InitStruct.Pull = GPIO_NOPULL;
  HAL_GPIO_Init(GPIOC, &GPIO_InitStruct);

  /*Configure GPIO pin : PF9 */
  GPIO_InitStruct.Pin = GPIO_PIN_9;
  GPIO_InitStruct.Mode = GPIO_MODE_AF_PP;
  GPIO_InitStruct.Pull = GPIO_NOPULL;
  GPIO_InitStruct.Speed = GPIO_SPEED_FREQ_LOW;
  GPIO_InitStruct.Alternate = GPIO_AF10_QUADSPI;
  HAL_GPIO_Init(GPIOF, &GPIO_InitStruct);

  /*Configure GPIO pins : MII_MDC_Pin MII_TXD2_Pin MII_TX_CLK_Pin MII_RXD0_Pin
                           MII_RXD1_Pin */
  GPIO_InitStruct.Pin = MII_MDC_Pin|MII_TXD2_Pin|MII_TX_CLK_Pin|MII_RXD0_Pin
                          |MII_RXD1_Pin;
  GPIO_InitStruct.Mode = GPIO_MODE_AF_PP;
  GPIO_InitStruct.Pull = GPIO_NOPULL;
  GPIO_InitStruct.Speed = GPIO_SPEED_FREQ_LOW;
  GPIO_InitStruct.Alternate = GPIO_AF11_ETH;
  HAL_GPIO_Init(GPIOC, &GPIO_InitStruct);

  /*Configure GPIO pins : MII_CRS_Pin MII_COL_Pin */
  GPIO_InitStruct.Pin = MII_CRS_Pin|MII_COL_Pin;
  GPIO_InitStruct.Mode = GPIO_MODE_AF_PP;
  GPIO_InitStruct.Pull = GPIO_NOPULL;
  GPIO_InitStruct.Speed = GPIO_SPEED_FREQ_LOW;
  GPIO_InitStruct.Alternate = GPIO_AF11_ETH;
  HAL_GPIO_Init(GPIOH, &GPIO_InitStruct);

  /*Configure GPIO pins : MII_MDIO_Pin MII_RX_CLK_Pin MII_RX_DV_Pin */
  GPIO_InitStruct.Pin = MII_MDIO_Pin|MII_RX_CLK_Pin|MII_RX_DV_Pin;
  GPIO_InitStruct.Mode = GPIO_MODE_AF_PP;
  GPIO_InitStruct.Pull = GPIO_NOPULL;
  GPIO_InitStruct.Speed = GPIO_SPEED_FREQ_LOW;
  GPIO_InitStruct.Alternate = GPIO_AF11_ETH;
  HAL_GPIO_Init(GPIOA, &GPIO_InitStruct);

  /*Configure GPIO pins : PH5 PH6 PH7 */
  GPIO_InitStruct.Pin = GPIO_PIN_5|GPIO_PIN_6|GPIO_PIN_7;
  GPIO_InitStruct.Mode = GPIO_MODE_AF_PP;
  GPIO_InitStruct.Pull = GPIO_NOPULL;
  GPIO_InitStruct.Speed = GPIO_SPEED_FREQ_VERY_HIGH;
  GPIO_InitStruct.Alternate = GPIO_AF12_FMC;
  HAL_GPIO_Init(GPIOH, &GPIO_InitStruct);

  /*Configure GPIO pins : VCP_TX_Pin VCP_RX_Pin */
  GPIO_InitStruct.Pin = VCP_TX_Pin|VCP_RX_Pin;
  GPIO_InitStruct.Mode = GPIO_MODE_AF_PP;
  GPIO_InitStruct.Pull = GPIO_NOPULL;
  GPIO_InitStruct.Speed = GPIO_SPEED_FREQ_LOW;
  GPIO_InitStruct.Alternate = GPIO_AF7_USART3;
  HAL_GPIO_Init(GPIOB, &GPIO_InitStruct);

  /*Configure GPIO pin : OTG_FS2_OverCurrent_Pin */
  GPIO_InitStruct.Pin = OTG_FS2_OverCurrent_Pin;
  GPIO_InitStruct.Mode = GPIO_MODE_IT_RISING;
  GPIO_InitStruct.Pull = GPIO_NOPULL;
  HAL_GPIO_Init(OTG_FS2_OverCurrent_GPIO_Port, &GPIO_InitStruct);

  /*Configure GPIO pin : PA6 */
  GPIO_InitStruct.Pin = GPIO_PIN_6;
  GPIO_InitStruct.Mode = GPIO_MODE_AF_PP;
  GPIO_InitStruct.Pull = GPIO_NOPULL;
  GPIO_InitStruct.Speed = GPIO_SPEED_FREQ_LOW;
  GPIO_InitStruct.Alternate = GPIO_AF9_TIM13;
  HAL_GPIO_Init(GPIOA, &GPIO_InitStruct);

  /*Configure GPIO pin : PH9 */
  GPIO_InitStruct.Pin = GPIO_PIN_9;
  GPIO_InitStruct.Mode = GPIO_MODE_AF_PP;
  GPIO_InitStruct.Pull = GPIO_NOPULL;
  GPIO_InitStruct.Speed = GPIO_SPEED_FREQ_LOW;
  GPIO_InitStruct.Alternate = GPIO_AF14_LTDC;
  HAL_GPIO_Init(GPIOH, &GPIO_InitStruct);

  /*Configure GPIO pin : PD11 */
  GPIO_InitStruct.Pin = GPIO_PIN_11;
  GPIO_InitStruct.Mode = GPIO_MODE_AF_PP;
  GPIO_InitStruct.Pull = GPIO_NOPULL;
  GPIO_InitStruct.Speed = GPIO_SPEED_FREQ_LOW;
  GPIO_InitStruct.Alternate = GPIO_AF9_QUADSPI;
  HAL_GPIO_Init(GPIOD, &GPIO_InitStruct);

  /*Configure GPIO pins : MII_RX_D3_Pin MII_RX_D2_Pin */
  GPIO_InitStruct.Pin = MII_RX_D3_Pin|MII_RX_D2_Pin;
  GPIO_InitStruct.Mode = GPIO_MODE_AF_PP;
  GPIO_InitStruct.Pull = GPIO_NOPULL;
  GPIO_InitStruct.Speed = GPIO_SPEED_FREQ_LOW;
  GPIO_InitStruct.Alternate = GPIO_AF11_ETH;
  HAL_GPIO_Init(GPIOB, &GPIO_InitStruct);

  /*Configure GPIO pin : LD1_Pin */
  GPIO_InitStruct.Pin = LD1_Pin;
  GPIO_InitStruct.Mode = GPIO_MODE_OUTPUT_PP;
  GPIO_InitStruct.Pull = GPIO_NOPULL;
  GPIO_InitStruct.Speed = GPIO_SPEED_FREQ_LOW;
  HAL_GPIO_Init(LD1_GPIO_Port, &GPIO_InitStruct);

  /*Configure GPIO pin : LCD_RST_Pin */
  GPIO_InitStruct.Pin = LCD_RST_Pin;
  GPIO_InitStruct.Mode = GPIO_MODE_OUTPUT_PP;
  GPIO_InitStruct.Pull = GPIO_NOPULL;
  GPIO_InitStruct.Speed = GPIO_SPEED_FREQ_LOW;
  HAL_GPIO_Init(LCD_RST_GPIO_Port, &GPIO_InitStruct);

  /*Configure GPIO pin : PB15 */
  GPIO_InitStruct.Pin = GPIO_PIN_15;
  GPIO_InitStruct.Mode = GPIO_MODE_AF_PP;
  GPIO_InitStruct.Pull = GPIO_NOPULL;
  GPIO_InitStruct.Speed = GPIO_SPEED_FREQ_LOW;
  GPIO_InitStruct.Alternate = GPIO_AF5_SPI2;
  HAL_GPIO_Init(GPIOB, &GPIO_InitStruct);

  /*AnalogSwitch Config */
  HAL_SYSCFG_AnalogSwitchConfig(SYSCFG_SWITCH_PA0, SYSCFG_SWITCH_PA0_OPEN);

  /*AnalogSwitch Config */
  HAL_SYSCFG_AnalogSwitchConfig(SYSCFG_SWITCH_PA1, SYSCFG_SWITCH_PA1_OPEN);

}

void Error_Handler(void)
{
  __disable_irq();
  while (1)
  {
  }
}

/************************ (C) COPYRIGHT STMicroelectronics *****END OF FILE****/
